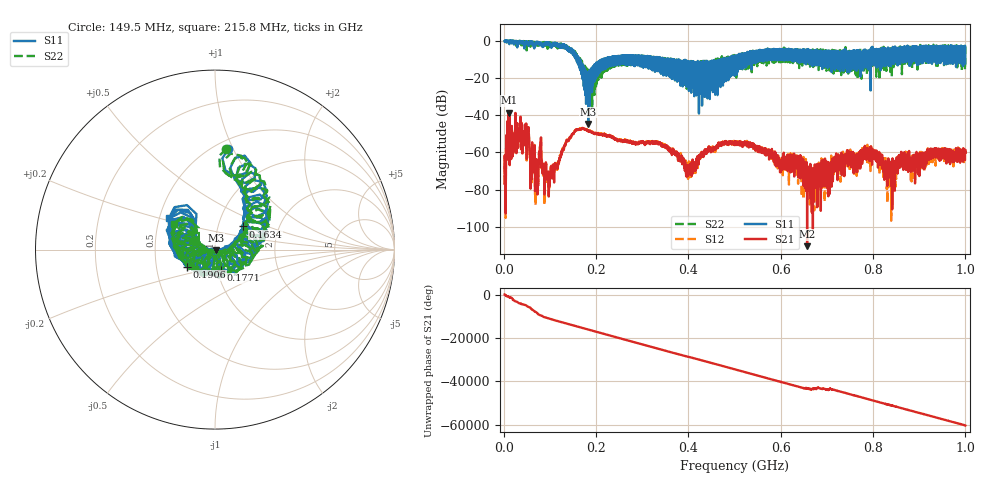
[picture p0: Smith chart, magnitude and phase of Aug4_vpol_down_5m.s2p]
!Keysight Technologies N9923A: A.12.45
!Date: Tuesday, 05 August 2025 20:23:32
!Timezone: (UTC+08:00) Kuala Lumpur, Singapore
!Model: N9923A
!Serial: MY61181427
!GPS Latitude:
!GPS Longitude:
!GPS TimeStamp: 0001-01-01 00:00:00Z
!GPS Seconds Since Last Read: 0
!CHECKSUM:2076419382
!Correction: S11(ON U)S21(ON U)S12(ON U)S22(ON U)
!S2P File: Measurements:S11,S21,S12,S22:
# Hz S DB R 50
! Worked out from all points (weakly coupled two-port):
!   4001 points, 2 MHz to 1 GHz, reference 50 ohm
!   highest |S21| = -38.59 dB at 12.23 MHz (marker M1); lowest = -110.5 dB at 657.2 MHz (marker M2)
!   lowest |S11| = -44.8 dB at 183.1 MHz (marker M3), VSWR 1.01, Z = 50.5 - j0.337 ohm
!   |S11| at or under -10 dB: 162.9 MHz to 215.5 MHz (52.55 MHz wide, 27.8 % of centre); 361.8 MHz to 470.5 MHz (108.7 MHz wide, 26.1 % of centre); 470.6 MHz to 475.5 MHz (4.829 MHz wide, 1.02 % of centre)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
!   |S22| runs from -36.7 to 0.1 dB; largest |S21 - S12| = 0.00092
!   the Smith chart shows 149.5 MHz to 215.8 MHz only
!   S11 on the Smith chart (normalised r, x): 149.5 MHz: 0.58, +0.96; 163.4 MHz: 1.31, +0.35; 177.1 MHz: 1.04, -0.24; 190.6 MHz: 0.72, -0.14; 215.8 MHz: 0.56, +0.22
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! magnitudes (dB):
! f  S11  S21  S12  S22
! 2 MHz  -0.1  -76.9  -77.1  -0.1
! 12.23 MHz  -1.0  -38.6  -38.3  -1.4
! 19.71 MHz  -0.2  -52.5  -52.5  -1.4
! 50.4 MHz  -0.8  -54.6  -54.2  -2.3
! 71.11 MHz  -1.4  -65.4  -64.9  -2.0
! 81.09 MHz  -2.1  -53.8  -54.1  -2.1
! 97.06 MHz  -1.3  -75.3  -78.7  -2.9
! 149.5 MHz  -5.0  -49.8  -49.8  -5.0
! 163.4 MHz  -13.9  -47.7  -47.5  -11.9
! 168.4 MHz  -18.0  -47.4  -47.1  -15.0
! 177.1 MHz  -18.6  -48.0  -47.6  -19.4
! 183.1 MHz  -44.8  -48.6  -48.3  -21.7
! 190.6 MHz  -14.7  -49.2  -48.8  -16.0
! 215.8 MHz  -10.1  -50.5  -50.3  -11.3
! 334.8 MHz  -9.1  -55.5  -54.7  -10.6
! 402.2 MHz  -12.0  -67.0  -66.2  -11.2
! 501 MHz  -8.4  -54.5  -55.1  -8.8
! 657.2 MHz  -4.5  -110.5  -68.9  -7.9
! 667.4 MHz  -5.4  -92.3  -75.3  -7.5
! 783.4 MHz  -5.3  -60.1  -63.0  -14.0
! 833.8 MHz  -6.0  -69.7  -72.8  -13.3
! 1 GHz  -12.2  -60.0  -58.3  -4.1
